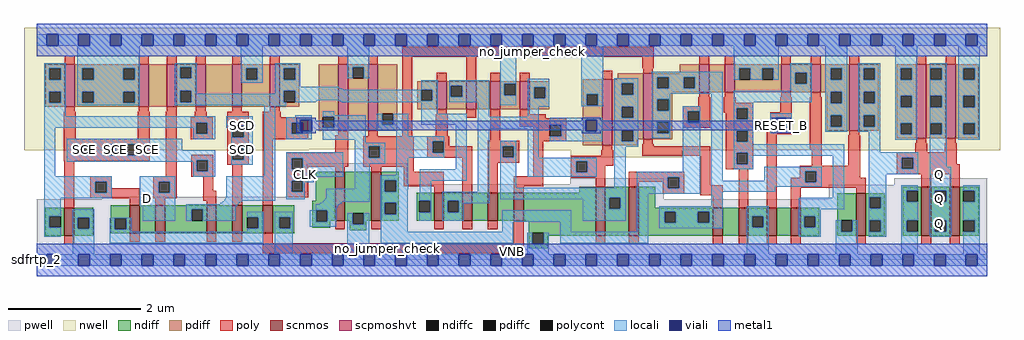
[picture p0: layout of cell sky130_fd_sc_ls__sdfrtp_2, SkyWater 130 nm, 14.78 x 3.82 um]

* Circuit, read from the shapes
.subckt sky130_fd_sc_ls__sdfrtp_2 CLK D RESET_B SCD SCE VGND VNB VPB VPWR Q
XM1 VGND SCE n1 VNB sky130_fd_pr__nfet_01v8 w=0.42 l=0.15
XM2 n2 n1 n3 VNB sky130_fd_pr__nfet_01v8 w=0.42 l=0.15
XM3 n4 D n2 VNB sky130_fd_pr__nfet_01v8 w=0.42 l=0.15
XM4 n5 SCE n4 VNB sky130_fd_pr__nfet_01v8 w=0.42 l=0.15
XM5 n3 SCD n5 VNB sky130_fd_pr__nfet_01v8 w=0.42 l=0.15
XM6 VGND RESET_B n3 VNB sky130_fd_pr__nfet_01v8 w=0.42 l=0.15
XM7 VGND CLK n6 VNB sky130_fd_pr__nfet_01v8 w=0.74 l=0.15
XM8 n7 n6 VGND VNB sky130_fd_pr__nfet_01v8 w=0.74 l=0.15
XM9 n8 n6 n4 VNB sky130_fd_pr__nfet_01v8 w=0.42 l=0.15
XM10 n9 n7 n8 VNB sky130_fd_pr__nfet_01v8 w=0.42 l=0.15
XM11 n10 n11 n9 VNB sky130_fd_pr__nfet_01v8 w=0.42 l=0.15
XM12 VGND RESET_B n10 VNB sky130_fd_pr__nfet_01v8 w=0.42 l=0.15
XM13 n11 n8 VGND VNB sky130_fd_pr__nfet_01v8 w=0.74 l=0.15
XM14 n12 n7 n11 VNB sky130_fd_pr__nfet_01v8 w=0.74 l=0.15
XM15 n13 n6 n12 VNB sky130_fd_pr__nfet_01v8 w=0.42 l=0.15
XM16 VGND n14 n13 VNB sky130_fd_pr__nfet_01v8 w=0.42 l=0.15
XM17 n15 RESET_B VGND VNB sky130_fd_pr__nfet_01v8 w=0.42 l=0.15
XM18 n14 n12 n15 VNB sky130_fd_pr__nfet_01v8 w=0.42 l=0.15
XM19 n16 n12 VGND VNB sky130_fd_pr__nfet_01v8 w=0.64 l=0.15
XM20 Q n16 VGND VNB sky130_fd_pr__nfet_01v8 w=0.74 l=0.15 m=2
XM21 VPWR SCE n1 VPB sky130_fd_pr__pfet_01v8_hvt w=0.64 l=0.15
XM22 n17 SCE VPWR VPB sky130_fd_pr__pfet_01v8_hvt w=0.64 l=0.15
XM23 n4 D n17 VPB sky130_fd_pr__pfet_01v8_hvt w=0.64 l=0.15
XM24 n18 n1 n4 VPB sky130_fd_pr__pfet_01v8_hvt w=0.64 l=0.15
XM25 VPWR SCD n18 VPB sky130_fd_pr__pfet_01v8_hvt w=0.64 l=0.15
XM26 n4 RESET_B VPWR VPB sky130_fd_pr__pfet_01v8_hvt w=0.64 l=0.15
XM27 VPWR CLK n6 VPB sky130_fd_pr__pfet_01v8_hvt w=1 l=0.15
XM28 n7 n6 VPWR VPB sky130_fd_pr__pfet_01v8_hvt w=1 l=0.15
XM29 n8 n7 n4 VPB sky130_fd_pr__pfet_01v8_hvt w=0.42 l=0.15
XM30 n19 n6 n8 VPB sky130_fd_pr__pfet_01v8_hvt w=0.42 l=0.15
XM31 VPWR n11 n19 VPB sky130_fd_pr__pfet_01v8_hvt w=0.42 l=0.15
XM32 n8 RESET_B VPWR VPB sky130_fd_pr__pfet_01v8_hvt w=0.42 l=0.15
XM33 n11 n8 VPWR VPB sky130_fd_pr__pfet_01v8_hvt w=1 l=0.15
XM34 n12 n6 n11 VPB sky130_fd_pr__pfet_01v8_hvt w=1 l=0.15
XM35 n20 n7 n12 VPB sky130_fd_pr__pfet_01v8_hvt w=0.42 l=0.15
XM36 VPWR n14 n20 VPB sky130_fd_pr__pfet_01v8_hvt w=0.42 l=0.15
XM37 n14 RESET_B VPWR VPB sky130_fd_pr__pfet_01v8_hvt w=0.42 l=0.15
XM38 VPWR n12 n14 VPB sky130_fd_pr__pfet_01v8_hvt w=0.42 l=0.15
XM39 n16 n12 VPWR VPB sky130_fd_pr__pfet_01v8_hvt w=1 l=0.15
XM40 Q n16 VPWR VPB sky130_fd_pr__pfet_01v8_hvt w=1.12 l=0.15 m=2
.ends

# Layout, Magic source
magic
tech sky130A
magscale 1 2
<< nwell >>
rect -38 335 2918 704
rect -38 332 825 335
rect 1117 332 2918 335
rect 1618 311 1956 332
<< pwell >>
rect 819 229 1123 293
rect 1617 229 1900 248
rect 819 206 1900 229
rect 2597 228 2879 248
rect 809 191 1900 206
rect 199 184 1900 191
rect 2399 184 2879 228
rect 1 49 2879 184
rect 0 0 2880 49
<< scnmos >>
rect 84 74 114 158
rect 282 81 312 165
rect 360 81 390 165
rect 515 81 545 165
rect 593 81 623 165
rect 685 81 715 165
rect 904 119 934 267
rect 1014 119 1044 267
rect 1204 119 1234 203
rect 1290 119 1320 203
rect 1367 119 1397 203
rect 1445 119 1475 203
rect 1693 74 1723 222
rect 1794 74 1824 222
rect 2048 74 2078 158
rect 2126 74 2156 158
rect 2212 74 2242 158
rect 2284 74 2314 158
rect 2482 74 2512 202
rect 2680 74 2710 222
rect 2766 74 2796 222
<< scpmoshvt >>
rect 86 464 116 592
rect 310 464 340 592
rect 394 464 424 592
rect 482 464 512 592
rect 592 464 622 592
rect 706 464 736 592
rect 914 392 944 592
rect 1004 392 1034 592
rect 1212 457 1242 541
rect 1302 457 1332 541
rect 1374 457 1404 541
rect 1464 457 1494 541
rect 1713 347 1743 547
rect 1837 366 1867 566
rect 2007 508 2037 592
rect 2085 508 2115 592
rect 2255 508 2285 592
rect 2345 508 2375 592
rect 2462 392 2492 592
rect 2664 368 2694 592
rect 2754 368 2784 592
<< ndiff >>
rect 845 180 904 267
rect 27 133 84 158
rect 27 99 39 133
rect 73 99 84 133
rect 27 74 84 99
rect 114 128 171 158
rect 114 94 125 128
rect 159 94 171 128
rect 114 74 171 94
rect 225 127 282 165
rect 225 93 237 127
rect 271 93 282 127
rect 225 81 282 93
rect 312 81 360 165
rect 390 153 515 165
rect 390 119 470 153
rect 504 119 515 153
rect 390 81 515 119
rect 545 81 593 165
rect 623 130 685 165
rect 623 96 638 130
rect 672 96 685 130
rect 623 81 685 96
rect 715 130 781 165
rect 715 96 735 130
rect 769 96 781 130
rect 835 150 904 180
rect 835 116 847 150
rect 881 119 904 150
rect 934 142 1014 267
rect 934 119 957 142
rect 881 116 889 119
rect 835 98 889 116
rect 715 81 781 96
rect 949 108 957 119
rect 991 119 1014 142
rect 1044 241 1097 267
rect 1044 207 1055 241
rect 1089 207 1097 241
rect 1044 173 1097 207
rect 1643 203 1693 222
rect 1044 139 1055 173
rect 1089 139 1097 173
rect 1044 119 1097 139
rect 1151 179 1204 203
rect 1151 145 1159 179
rect 1193 145 1204 179
rect 1151 119 1204 145
rect 1234 179 1290 203
rect 1234 145 1245 179
rect 1279 145 1290 179
rect 1234 119 1290 145
rect 1320 119 1367 203
rect 1397 119 1445 203
rect 1475 119 1693 203
rect 991 108 999 119
rect 949 90 999 108
rect 1491 82 1693 119
rect 1491 48 1502 82
rect 1536 74 1693 82
rect 1723 189 1794 222
rect 1723 155 1734 189
rect 1768 155 1794 189
rect 1723 74 1794 155
rect 1824 158 1874 222
rect 2623 210 2680 222
rect 1824 146 2048 158
rect 1824 112 1902 146
rect 1936 112 2003 146
rect 2037 112 2048 146
rect 1824 74 2048 112
rect 2078 74 2126 158
rect 2156 133 2212 158
rect 2156 99 2167 133
rect 2201 99 2212 133
rect 2156 74 2212 99
rect 2242 74 2284 158
rect 2314 133 2371 158
rect 2314 99 2325 133
rect 2359 99 2371 133
rect 2314 74 2371 99
rect 2425 120 2482 202
rect 2425 86 2437 120
rect 2471 86 2482 120
rect 2425 74 2482 86
rect 2512 190 2569 202
rect 2512 156 2523 190
rect 2557 156 2569 190
rect 2512 120 2569 156
rect 2512 86 2523 120
rect 2557 86 2569 120
rect 2512 74 2569 86
rect 2623 176 2635 210
rect 2669 176 2680 210
rect 2623 120 2680 176
rect 2623 86 2635 120
rect 2669 86 2680 120
rect 2623 74 2680 86
rect 2710 210 2766 222
rect 2710 176 2721 210
rect 2755 176 2766 210
rect 2710 120 2766 176
rect 2710 86 2721 120
rect 2755 86 2766 120
rect 2710 74 2766 86
rect 2796 210 2853 222
rect 2796 176 2807 210
rect 2841 176 2853 210
rect 2796 120 2853 176
rect 2796 86 2807 120
rect 2841 86 2853 120
rect 2796 74 2853 86
rect 1536 48 1549 74
rect 1491 36 1549 48
<< pdiff >>
rect 27 580 86 592
rect 27 546 39 580
rect 73 546 86 580
rect 27 510 86 546
rect 27 476 39 510
rect 73 476 86 510
rect 27 464 86 476
rect 116 580 310 592
rect 116 546 139 580
rect 173 546 263 580
rect 297 546 310 580
rect 116 510 310 546
rect 116 476 139 510
rect 173 476 263 510
rect 297 476 310 510
rect 116 464 310 476
rect 340 464 394 592
rect 424 584 482 592
rect 424 550 435 584
rect 469 550 482 584
rect 424 512 482 550
rect 424 478 435 512
rect 469 478 482 512
rect 424 464 482 478
rect 512 464 592 592
rect 622 580 706 592
rect 622 546 635 580
rect 669 546 706 580
rect 622 464 706 546
rect 736 580 795 592
rect 736 546 749 580
rect 783 546 795 580
rect 736 512 795 546
rect 736 478 749 512
rect 783 478 795 512
rect 736 464 795 478
rect 855 434 914 592
rect 855 400 867 434
rect 901 400 914 434
rect 855 392 914 400
rect 944 584 1004 592
rect 944 550 957 584
rect 991 550 1004 584
rect 944 392 1004 550
rect 1034 443 1093 592
rect 1034 409 1047 443
rect 1081 409 1093 443
rect 1034 392 1093 409
rect 1948 566 2007 592
rect 1761 547 1837 566
rect 1153 516 1212 541
rect 1153 482 1165 516
rect 1199 482 1212 516
rect 1153 457 1212 482
rect 1242 528 1302 541
rect 1242 494 1255 528
rect 1289 494 1302 528
rect 1242 457 1302 494
rect 1332 457 1374 541
rect 1404 533 1464 541
rect 1404 499 1417 533
rect 1451 499 1464 533
rect 1404 457 1464 499
rect 1494 523 1553 541
rect 1494 489 1507 523
rect 1541 489 1553 523
rect 1494 457 1553 489
rect 1654 502 1713 547
rect 1654 468 1666 502
rect 1700 468 1713 502
rect 1654 347 1713 468
rect 1743 535 1837 547
rect 1743 501 1773 535
rect 1807 501 1837 535
rect 1743 464 1837 501
rect 1743 430 1773 464
rect 1807 430 1837 464
rect 1743 393 1837 430
rect 1743 359 1773 393
rect 1807 366 1837 393
rect 1867 554 2007 566
rect 1867 520 1880 554
rect 1914 520 1960 554
rect 1994 520 2007 554
rect 1867 508 2007 520
rect 2037 508 2085 592
rect 2115 580 2255 592
rect 2115 546 2128 580
rect 2162 546 2198 580
rect 2232 546 2255 580
rect 2115 508 2255 546
rect 2285 567 2345 592
rect 2285 533 2298 567
rect 2332 533 2345 567
rect 2285 508 2345 533
rect 2375 580 2462 592
rect 2375 546 2405 580
rect 2439 546 2462 580
rect 2375 509 2462 546
rect 2375 508 2405 509
rect 1867 486 1925 508
rect 1867 452 1880 486
rect 1914 452 1925 486
rect 1867 418 1925 452
rect 1867 384 1880 418
rect 1914 384 1925 418
rect 1867 366 1925 384
rect 1807 359 1819 366
rect 1743 347 1819 359
rect 2393 475 2405 508
rect 2439 475 2462 509
rect 2393 438 2462 475
rect 2393 404 2405 438
rect 2439 404 2462 438
rect 2393 392 2462 404
rect 2492 580 2551 592
rect 2492 546 2505 580
rect 2539 546 2551 580
rect 2492 509 2551 546
rect 2492 475 2505 509
rect 2539 475 2551 509
rect 2492 438 2551 475
rect 2492 404 2505 438
rect 2539 404 2551 438
rect 2492 392 2551 404
rect 2605 580 2664 592
rect 2605 546 2617 580
rect 2651 546 2664 580
rect 2605 497 2664 546
rect 2605 463 2617 497
rect 2651 463 2664 497
rect 2605 414 2664 463
rect 2605 380 2617 414
rect 2651 380 2664 414
rect 2605 368 2664 380
rect 2694 580 2754 592
rect 2694 546 2707 580
rect 2741 546 2754 580
rect 2694 497 2754 546
rect 2694 463 2707 497
rect 2741 463 2754 497
rect 2694 414 2754 463
rect 2694 380 2707 414
rect 2741 380 2754 414
rect 2694 368 2754 380
rect 2784 580 2853 592
rect 2784 546 2807 580
rect 2841 546 2853 580
rect 2784 497 2853 546
rect 2784 463 2807 497
rect 2841 463 2853 497
rect 2784 414 2853 463
rect 2784 380 2807 414
rect 2841 380 2853 414
rect 2784 368 2853 380
<< ndiffc >>
rect 39 99 73 133
rect 125 94 159 128
rect 237 93 271 127
rect 470 119 504 153
rect 638 96 672 130
rect 735 96 769 130
rect 847 116 881 150
rect 957 108 991 142
rect 1055 207 1089 241
rect 1055 139 1089 173
rect 1159 145 1193 179
rect 1245 145 1279 179
rect 1502 48 1536 82
rect 1734 155 1768 189
rect 1902 112 1936 146
rect 2003 112 2037 146
rect 2167 99 2201 133
rect 2325 99 2359 133
rect 2437 86 2471 120
rect 2523 156 2557 190
rect 2523 86 2557 120
rect 2635 176 2669 210
rect 2635 86 2669 120
rect 2721 176 2755 210
rect 2721 86 2755 120
rect 2807 176 2841 210
rect 2807 86 2841 120
<< pdiffc >>
rect 39 546 73 580
rect 39 476 73 510
rect 139 546 173 580
rect 263 546 297 580
rect 139 476 173 510
rect 263 476 297 510
rect 435 550 469 584
rect 435 478 469 512
rect 635 546 669 580
rect 749 546 783 580
rect 749 478 783 512
rect 867 400 901 434
rect 957 550 991 584
rect 1047 409 1081 443
rect 1165 482 1199 516
rect 1255 494 1289 528
rect 1417 499 1451 533
rect 1507 489 1541 523
rect 1666 468 1700 502
rect 1773 501 1807 535
rect 1773 430 1807 464
rect 1773 359 1807 393
rect 1880 520 1914 554
rect 1960 520 1994 554
rect 2128 546 2162 580
rect 2198 546 2232 580
rect 2298 533 2332 567
rect 2405 546 2439 580
rect 1880 452 1914 486
rect 1880 384 1914 418
rect 2405 475 2439 509
rect 2405 404 2439 438
rect 2505 546 2539 580
rect 2505 475 2539 509
rect 2505 404 2539 438
rect 2617 546 2651 580
rect 2617 463 2651 497
rect 2617 380 2651 414
rect 2707 546 2741 580
rect 2707 463 2741 497
rect 2707 380 2741 414
rect 2807 546 2841 580
rect 2807 463 2841 497
rect 2807 380 2841 414
<< poly >>
rect 86 592 116 618
rect 310 592 340 618
rect 394 592 424 618
rect 482 592 512 618
rect 592 592 622 618
rect 706 592 736 618
rect 914 592 944 618
rect 1004 592 1034 618
rect 1108 615 1870 645
rect 86 449 116 464
rect 310 449 340 464
rect 394 449 424 464
rect 482 449 512 464
rect 592 449 622 464
rect 706 449 736 464
rect 83 367 119 449
rect 307 367 343 449
rect 83 351 343 367
rect 83 317 137 351
rect 171 317 205 351
rect 239 317 273 351
rect 307 317 343 351
rect 83 301 343 317
rect 84 158 114 301
rect 391 253 425 449
rect 479 432 515 449
rect 467 416 533 432
rect 467 382 483 416
rect 517 382 533 416
rect 467 366 533 382
rect 577 406 643 449
rect 577 372 593 406
rect 627 372 643 406
rect 577 338 643 372
rect 162 237 228 253
rect 162 203 178 237
rect 212 217 228 237
rect 354 237 425 253
rect 469 302 535 318
rect 469 268 485 302
rect 519 268 535 302
rect 577 304 593 338
rect 627 304 643 338
rect 577 288 643 304
rect 685 432 739 449
rect 685 416 823 432
rect 685 382 773 416
rect 807 382 823 416
rect 685 370 823 382
rect 914 377 944 392
rect 685 366 819 370
rect 469 252 535 268
rect 212 203 312 217
rect 162 187 312 203
rect 354 203 370 237
rect 404 203 425 237
rect 354 187 425 203
rect 505 210 535 252
rect 282 165 312 187
rect 360 165 390 187
rect 505 180 545 210
rect 515 165 545 180
rect 593 165 623 288
rect 685 165 715 366
rect 904 324 944 377
rect 1004 375 1034 392
rect 1108 375 1138 615
rect 1212 541 1242 567
rect 1302 541 1332 615
rect 1834 581 1870 615
rect 2007 592 2037 618
rect 2085 592 2115 618
rect 2255 592 2285 618
rect 2345 592 2375 618
rect 2462 592 2492 618
rect 2664 592 2694 618
rect 2754 592 2784 618
rect 1374 541 1404 567
rect 1464 541 1494 567
rect 1713 547 1743 573
rect 1837 566 1867 581
rect 1212 442 1242 457
rect 1209 375 1245 442
rect 1302 431 1332 457
rect 757 308 944 324
rect 757 274 773 308
rect 807 282 944 308
rect 990 344 1142 375
rect 990 310 1006 344
rect 1040 310 1142 344
rect 990 282 1142 310
rect 1184 359 1250 375
rect 1374 361 1404 457
rect 1464 442 1494 457
rect 1464 429 1542 442
rect 1464 409 1605 429
rect 1464 403 1555 409
rect 1504 375 1555 403
rect 1589 375 1605 409
rect 1184 325 1200 359
rect 1234 345 1250 359
rect 1367 345 1462 361
rect 1234 325 1320 345
rect 1184 309 1320 325
rect 807 274 823 282
rect 757 240 823 274
rect 904 267 934 282
rect 1014 267 1044 282
rect 1112 267 1142 282
rect 757 206 773 240
rect 807 206 823 240
rect 757 190 823 206
rect 904 93 934 119
rect 1112 223 1234 267
rect 1204 203 1234 223
rect 1290 203 1320 309
rect 1367 311 1412 345
rect 1446 311 1462 345
rect 1367 295 1462 311
rect 1504 359 1605 375
rect 1367 203 1397 295
rect 1504 253 1534 359
rect 2007 493 2037 508
rect 2085 493 2115 508
rect 2255 493 2285 508
rect 2345 493 2375 508
rect 2004 466 2040 493
rect 1957 450 2040 466
rect 1957 416 1973 450
rect 2007 416 2040 450
rect 2082 476 2118 493
rect 2082 460 2170 476
rect 2082 446 2120 460
rect 1957 400 2040 416
rect 2088 426 2120 446
rect 2154 426 2170 460
rect 2252 447 2288 493
rect 2088 392 2170 426
rect 2222 431 2288 447
rect 2222 411 2238 431
rect 1837 351 1867 366
rect 2088 358 2120 392
rect 2154 358 2170 392
rect 1713 332 1743 347
rect 1834 345 1870 351
rect 1710 315 1746 332
rect 1834 315 2040 345
rect 1445 223 1534 253
rect 1618 299 1746 315
rect 1618 265 1634 299
rect 1668 285 1746 299
rect 1668 265 1723 285
rect 1618 249 1723 265
rect 1445 203 1475 223
rect 1693 222 1723 249
rect 1794 251 1962 267
rect 1794 237 1912 251
rect 1794 222 1824 237
rect 1014 93 1044 119
rect 1204 93 1234 119
rect 1290 93 1320 119
rect 1367 93 1397 119
rect 84 48 114 74
rect 282 55 312 81
rect 360 55 390 81
rect 515 55 545 81
rect 593 55 623 81
rect 685 51 715 81
rect 1445 51 1475 119
rect 685 21 1475 51
rect 1896 217 1912 237
rect 1946 217 1962 251
rect 1896 201 1962 217
rect 2010 226 2040 315
rect 2088 324 2170 358
rect 2088 290 2120 324
rect 2154 290 2170 324
rect 2088 274 2170 290
rect 2212 397 2238 411
rect 2272 397 2288 431
rect 2212 381 2288 397
rect 2010 196 2078 226
rect 2048 158 2078 196
rect 2126 158 2156 274
rect 2212 158 2242 381
rect 2342 333 2378 493
rect 2462 377 2492 392
rect 2348 285 2378 333
rect 2459 285 2495 377
rect 2664 353 2694 368
rect 2754 353 2784 368
rect 2661 326 2697 353
rect 2751 326 2787 353
rect 2312 269 2495 285
rect 2312 249 2328 269
rect 2284 235 2328 249
rect 2362 249 2495 269
rect 2605 310 2787 326
rect 2605 276 2621 310
rect 2655 290 2787 310
rect 2655 276 2796 290
rect 2605 260 2796 276
rect 2362 235 2512 249
rect 2284 219 2512 235
rect 2680 222 2710 260
rect 2766 222 2796 260
rect 2284 158 2314 219
rect 2482 202 2512 219
rect 1693 48 1723 74
rect 1794 48 1824 74
rect 2048 48 2078 74
rect 2126 48 2156 74
rect 2212 48 2242 74
rect 2284 48 2314 74
rect 2482 48 2512 74
rect 2680 48 2710 74
rect 2766 48 2796 74
<< polycont >>
rect 137 317 171 351
rect 205 317 239 351
rect 273 317 307 351
rect 483 382 517 416
rect 593 372 627 406
rect 178 203 212 237
rect 485 268 519 302
rect 593 304 627 338
rect 773 382 807 416
rect 370 203 404 237
rect 773 274 807 308
rect 1006 310 1040 344
rect 1555 375 1589 409
rect 1200 325 1234 359
rect 773 206 807 240
rect 1412 311 1446 345
rect 1973 416 2007 450
rect 2120 426 2154 460
rect 2120 358 2154 392
rect 1634 265 1668 299
rect 1912 217 1946 251
rect 2120 290 2154 324
rect 2238 397 2272 431
rect 2328 235 2362 269
rect 2621 276 2655 310
<< locali >>
rect 0 649 31 683
rect 65 649 127 683
rect 161 649 223 683
rect 257 649 319 683
rect 353 649 415 683
rect 449 649 511 683
rect 545 649 607 683
rect 641 649 703 683
rect 737 649 799 683
rect 833 649 895 683
rect 929 649 991 683
rect 1025 649 1087 683
rect 1121 649 1183 683
rect 1217 649 1279 683
rect 1313 649 1375 683
rect 1409 649 1471 683
rect 1505 649 1567 683
rect 1601 649 1663 683
rect 1697 649 1759 683
rect 1793 649 1855 683
rect 1889 649 1951 683
rect 1985 649 2047 683
rect 2081 649 2143 683
rect 2177 649 2239 683
rect 2273 649 2335 683
rect 2369 649 2431 683
rect 2465 649 2527 683
rect 2561 649 2623 683
rect 2657 649 2719 683
rect 2753 649 2815 683
rect 2849 649 2880 683
rect 23 580 89 596
rect 23 546 39 580
rect 73 546 89 580
rect 23 510 89 546
rect 23 476 39 510
rect 73 476 89 510
rect 23 435 89 476
rect 123 580 313 649
rect 123 546 139 580
rect 173 546 263 580
rect 297 546 313 580
rect 123 510 313 546
rect 123 476 139 510
rect 173 476 263 510
rect 297 476 313 510
rect 123 469 313 476
rect 419 584 485 596
rect 419 550 435 584
rect 469 550 485 584
rect 419 512 485 550
rect 619 580 685 649
rect 619 546 635 580
rect 669 546 685 580
rect 619 537 685 546
rect 723 580 799 596
rect 723 546 749 580
rect 783 546 799 580
rect 941 584 1007 649
rect 941 550 957 584
rect 991 550 1007 584
rect 419 478 435 512
rect 469 503 485 512
rect 723 524 799 546
rect 723 520 916 524
rect 723 518 922 520
rect 723 517 926 518
rect 723 516 929 517
rect 1165 516 1215 545
rect 723 512 1165 516
rect 723 503 749 512
rect 469 478 749 503
rect 783 484 1165 512
rect 783 480 850 484
rect 911 483 1165 484
rect 914 482 1165 483
rect 1199 482 1215 516
rect 918 480 1215 482
rect 783 478 846 480
rect 419 477 846 478
rect 923 477 1215 480
rect 1250 528 1371 545
rect 1250 494 1255 528
rect 1289 494 1371 528
rect 1250 477 1371 494
rect 419 469 757 477
rect 689 466 757 469
rect 23 416 541 435
rect 23 401 483 416
rect 23 253 57 401
rect 475 382 483 401
rect 517 382 541 416
rect 575 406 655 435
rect 575 400 593 406
rect 91 351 441 367
rect 475 366 541 382
rect 589 372 593 400
rect 627 372 655 406
rect 91 317 137 351
rect 171 317 205 351
rect 239 317 273 351
rect 307 332 441 351
rect 589 338 655 372
rect 307 317 541 332
rect 91 302 541 317
rect 91 298 485 302
rect 475 268 485 298
rect 519 268 541 302
rect 589 304 593 338
rect 627 304 655 338
rect 589 288 655 304
rect 23 237 228 253
rect 23 203 178 237
rect 212 203 228 237
rect 23 187 228 203
rect 313 237 420 253
rect 475 252 541 268
rect 689 254 723 466
rect 867 439 901 450
rect 1165 443 1215 477
rect 784 432 833 438
rect 757 424 833 432
rect 757 416 799 424
rect 757 382 773 416
rect 807 382 833 390
rect 757 366 833 382
rect 867 434 997 439
rect 901 400 997 434
rect 867 364 997 400
rect 1031 409 1047 443
rect 1081 409 1126 443
rect 1165 409 1303 443
rect 1031 391 1126 409
rect 963 355 997 364
rect 1090 375 1126 391
rect 1090 359 1235 375
rect 963 344 1056 355
rect 313 203 370 237
rect 404 203 420 237
rect 23 133 73 187
rect 313 162 420 203
rect 575 187 723 254
rect 571 182 723 187
rect 757 308 929 326
rect 757 274 773 308
rect 807 274 929 308
rect 757 252 929 274
rect 963 310 1006 344
rect 1040 310 1056 344
rect 963 291 1056 310
rect 1090 325 1200 359
rect 1234 325 1235 359
rect 1090 309 1235 325
rect 757 240 839 252
rect 757 206 773 240
rect 807 236 839 240
rect 807 206 812 236
rect 963 216 1009 291
rect 1090 257 1126 309
rect 1269 274 1303 409
rect 757 184 812 206
rect 878 187 1009 216
rect 874 182 1009 187
rect 568 180 723 182
rect 568 178 622 180
rect 871 178 1009 182
rect 566 176 622 178
rect 869 176 1009 178
rect 1043 241 1126 257
rect 1043 207 1055 241
rect 1089 214 1126 241
rect 1160 240 1303 274
rect 1337 433 1371 477
rect 1405 533 1453 649
rect 1405 499 1417 533
rect 1451 499 1453 533
rect 1405 469 1453 499
rect 1487 523 1553 549
rect 1487 489 1507 523
rect 1541 489 1553 523
rect 1487 464 1553 489
rect 1649 502 1716 649
rect 2112 580 2248 649
rect 1864 554 2078 570
rect 1649 468 1666 502
rect 1700 468 1716 502
rect 1649 466 1716 468
rect 1750 535 1823 551
rect 1750 501 1773 535
rect 1807 501 1823 535
rect 1750 464 1823 501
rect 1487 433 1521 464
rect 1337 397 1521 433
rect 1750 430 1773 464
rect 1807 430 1823 464
rect 1089 207 1124 214
rect 562 173 617 176
rect 865 173 925 176
rect 557 171 613 173
rect 860 172 925 173
rect 1043 173 1124 207
rect 1160 199 1195 240
rect 1337 206 1371 397
rect 557 169 611 171
rect 860 169 920 172
rect 23 99 39 133
rect 23 70 73 99
rect 109 128 175 153
rect 109 94 125 128
rect 159 94 175 128
rect 109 17 175 94
rect 221 127 287 128
rect 221 93 237 127
rect 271 93 287 127
rect 321 119 420 162
rect 454 167 611 169
rect 846 167 916 169
rect 454 162 608 167
rect 846 163 914 167
rect 454 153 604 162
rect 454 119 470 153
rect 504 119 604 153
rect 846 158 911 163
rect 846 150 907 158
rect 638 130 686 146
rect 221 85 287 93
rect 672 96 686 130
rect 638 85 686 96
rect 221 51 686 85
rect 722 130 776 146
rect 722 96 735 130
rect 769 96 776 130
rect 827 116 847 150
rect 881 116 907 150
rect 827 100 907 116
rect 941 108 957 142
rect 991 108 1007 142
rect 722 17 776 96
rect 941 17 1007 108
rect 1043 139 1055 173
rect 1089 139 1124 173
rect 1043 85 1124 139
rect 1159 179 1195 199
rect 1193 145 1195 179
rect 1159 119 1195 145
rect 1229 179 1371 206
rect 1405 345 1453 361
rect 1405 311 1412 345
rect 1446 311 1453 345
rect 1405 218 1453 311
rect 1487 309 1521 397
rect 1555 424 1714 430
rect 1555 409 1663 424
rect 1589 390 1663 409
rect 1697 390 1714 424
rect 1589 375 1714 390
rect 1555 359 1714 375
rect 1750 393 1823 430
rect 1750 359 1773 393
rect 1807 359 1823 393
rect 1864 520 1880 554
rect 1914 520 1960 554
rect 1994 520 2078 554
rect 2112 546 2128 580
rect 2162 546 2198 580
rect 2232 546 2248 580
rect 2282 567 2348 596
rect 1864 504 2078 520
rect 2282 533 2298 567
rect 2332 533 2348 567
rect 2282 512 2348 533
rect 1864 486 1920 504
rect 1864 452 1880 486
rect 1914 452 1920 486
rect 1864 418 1920 452
rect 1864 384 1880 418
rect 1914 384 1920 418
rect 1864 368 1920 384
rect 1957 450 2010 466
rect 1957 416 1973 450
rect 2007 416 2010 450
rect 1750 343 1823 359
rect 1487 299 1697 309
rect 1487 265 1634 299
rect 1668 265 1697 299
rect 1487 252 1697 265
rect 1750 218 1784 343
rect 1957 267 2010 416
rect 1405 189 1784 218
rect 1405 184 1734 189
rect 1229 145 1245 179
rect 1279 172 1371 179
rect 1279 145 1294 172
rect 1654 155 1734 184
rect 1768 155 1784 189
rect 1229 119 1294 145
rect 1410 116 1620 150
rect 1654 119 1784 155
rect 1818 251 2010 267
rect 1818 217 1912 251
rect 1946 217 2010 251
rect 1818 201 2010 217
rect 2044 240 2078 504
rect 2112 478 2348 512
rect 2389 580 2455 649
rect 2389 546 2405 580
rect 2439 546 2455 580
rect 2389 509 2455 546
rect 2112 460 2170 478
rect 2112 426 2120 460
rect 2154 426 2170 460
rect 2389 475 2405 509
rect 2439 475 2455 509
rect 2112 392 2170 426
rect 2112 358 2120 392
rect 2154 358 2170 392
rect 2222 431 2288 444
rect 2222 397 2238 431
rect 2272 424 2288 431
rect 2222 390 2239 397
rect 2273 390 2288 424
rect 2222 384 2288 390
rect 2389 438 2455 475
rect 2389 404 2405 438
rect 2439 404 2455 438
rect 2389 388 2455 404
rect 2489 580 2555 596
rect 2489 546 2505 580
rect 2539 546 2555 580
rect 2489 509 2555 546
rect 2489 475 2505 509
rect 2539 475 2555 509
rect 2489 438 2555 475
rect 2489 404 2505 438
rect 2539 404 2555 438
rect 2489 388 2555 404
rect 2112 350 2170 358
rect 2112 324 2446 350
rect 2112 290 2120 324
rect 2154 316 2446 324
rect 2154 290 2170 316
rect 2112 274 2170 290
rect 2204 269 2378 282
rect 2204 240 2328 269
rect 2044 235 2328 240
rect 2362 235 2378 269
rect 2044 222 2378 235
rect 2044 206 2238 222
rect 1410 85 1444 116
rect 1043 51 1444 85
rect 1586 85 1620 116
rect 1818 85 1852 201
rect 2044 162 2078 206
rect 2412 188 2446 316
rect 1886 146 2078 162
rect 1886 112 1902 146
rect 1936 112 2003 146
rect 2037 112 2078 146
rect 1886 96 2078 112
rect 2151 133 2217 162
rect 2151 99 2167 133
rect 2201 99 2217 133
rect 1486 48 1502 82
rect 1536 48 1552 82
rect 1586 51 1852 85
rect 1486 17 1552 48
rect 2151 17 2217 99
rect 2309 154 2446 188
rect 2521 326 2555 388
rect 2601 580 2667 649
rect 2601 546 2617 580
rect 2651 546 2667 580
rect 2601 497 2667 546
rect 2601 463 2617 497
rect 2651 463 2667 497
rect 2601 414 2667 463
rect 2601 380 2617 414
rect 2651 380 2667 414
rect 2601 364 2667 380
rect 2705 580 2757 596
rect 2705 546 2707 580
rect 2741 546 2757 580
rect 2705 497 2757 546
rect 2705 463 2707 497
rect 2741 463 2757 497
rect 2705 414 2757 463
rect 2705 380 2707 414
rect 2741 380 2757 414
rect 2521 310 2671 326
rect 2521 276 2621 310
rect 2655 276 2671 310
rect 2521 260 2671 276
rect 2705 282 2757 380
rect 2791 580 2857 649
rect 2791 546 2807 580
rect 2841 546 2857 580
rect 2791 497 2857 546
rect 2791 463 2807 497
rect 2841 463 2857 497
rect 2791 414 2857 463
rect 2791 380 2807 414
rect 2841 380 2857 414
rect 2791 364 2857 380
rect 2521 190 2573 260
rect 2521 156 2523 190
rect 2557 156 2573 190
rect 2309 133 2375 154
rect 2309 99 2325 133
rect 2359 99 2375 133
rect 2521 120 2573 156
rect 2309 70 2375 99
rect 2421 86 2437 120
rect 2471 86 2487 120
rect 2421 17 2487 86
rect 2521 86 2523 120
rect 2557 86 2573 120
rect 2521 70 2573 86
rect 2619 210 2669 226
rect 2619 176 2635 210
rect 2619 120 2669 176
rect 2619 86 2635 120
rect 2619 17 2669 86
rect 2705 210 2771 282
rect 2705 176 2721 210
rect 2755 176 2771 210
rect 2705 120 2771 176
rect 2705 86 2721 120
rect 2755 86 2771 120
rect 2705 70 2771 86
rect 2807 210 2857 226
rect 2841 176 2857 210
rect 2807 120 2857 176
rect 2841 86 2857 120
rect 2807 17 2857 86
rect 0 -17 31 17
rect 65 -17 127 17
rect 161 -17 223 17
rect 257 -17 319 17
rect 353 -17 415 17
rect 449 -17 511 17
rect 545 -17 607 17
rect 641 -17 703 17
rect 737 -17 799 17
rect 833 -17 895 17
rect 929 -17 991 17
rect 1025 -17 1087 17
rect 1121 -17 1183 17
rect 1217 -17 1279 17
rect 1313 -17 1375 17
rect 1409 -17 1471 17
rect 1505 -17 1567 17
rect 1601 -17 1663 17
rect 1697 -17 1759 17
rect 1793 -17 1855 17
rect 1889 -17 1951 17
rect 1985 -17 2047 17
rect 2081 -17 2143 17
rect 2177 -17 2239 17
rect 2273 -17 2335 17
rect 2369 -17 2431 17
rect 2465 -17 2527 17
rect 2561 -17 2623 17
rect 2657 -17 2719 17
rect 2753 -17 2815 17
rect 2849 -17 2880 17
<< viali >>
rect 31 649 65 683
rect 127 649 161 683
rect 223 649 257 683
rect 319 649 353 683
rect 415 649 449 683
rect 511 649 545 683
rect 607 649 641 683
rect 703 649 737 683
rect 799 649 833 683
rect 895 649 929 683
rect 991 649 1025 683
rect 1087 649 1121 683
rect 1183 649 1217 683
rect 1279 649 1313 683
rect 1375 649 1409 683
rect 1471 649 1505 683
rect 1567 649 1601 683
rect 1663 649 1697 683
rect 1759 649 1793 683
rect 1855 649 1889 683
rect 1951 649 1985 683
rect 2047 649 2081 683
rect 2143 649 2177 683
rect 2239 649 2273 683
rect 2335 649 2369 683
rect 2431 649 2465 683
rect 2527 649 2561 683
rect 2623 649 2657 683
rect 2719 649 2753 683
rect 2815 649 2849 683
rect 799 416 833 424
rect 799 390 807 416
rect 807 390 833 416
rect 1663 390 1697 424
rect 2239 397 2272 424
rect 2272 397 2273 424
rect 2239 390 2273 397
rect 31 -17 65 17
rect 127 -17 161 17
rect 223 -17 257 17
rect 319 -17 353 17
rect 415 -17 449 17
rect 511 -17 545 17
rect 607 -17 641 17
rect 703 -17 737 17
rect 799 -17 833 17
rect 895 -17 929 17
rect 991 -17 1025 17
rect 1087 -17 1121 17
rect 1183 -17 1217 17
rect 1279 -17 1313 17
rect 1375 -17 1409 17
rect 1471 -17 1505 17
rect 1567 -17 1601 17
rect 1663 -17 1697 17
rect 1759 -17 1793 17
rect 1855 -17 1889 17
rect 1951 -17 1985 17
rect 2047 -17 2081 17
rect 2143 -17 2177 17
rect 2239 -17 2273 17
rect 2335 -17 2369 17
rect 2431 -17 2465 17
rect 2527 -17 2561 17
rect 2623 -17 2657 17
rect 2719 -17 2753 17
rect 2815 -17 2849 17
<< metal1 >>
rect 0 683 2880 715
rect 0 649 31 683
rect 65 649 127 683
rect 161 649 223 683
rect 257 649 319 683
rect 353 649 415 683
rect 449 649 511 683
rect 545 649 607 683
rect 641 649 703 683
rect 737 649 799 683
rect 833 649 895 683
rect 929 649 991 683
rect 1025 649 1087 683
rect 1121 649 1183 683
rect 1217 649 1279 683
rect 1313 649 1375 683
rect 1409 649 1471 683
rect 1505 649 1567 683
rect 1601 649 1663 683
rect 1697 649 1759 683
rect 1793 649 1855 683
rect 1889 649 1951 683
rect 1985 649 2047 683
rect 2081 649 2143 683
rect 2177 649 2239 683
rect 2273 649 2335 683
rect 2369 649 2431 683
rect 2465 649 2527 683
rect 2561 649 2623 683
rect 2657 649 2719 683
rect 2753 649 2815 683
rect 2849 649 2880 683
rect 0 617 2880 649
rect 787 424 845 430
rect 787 390 799 424
rect 833 421 845 424
rect 1651 424 1709 430
rect 1651 421 1663 424
rect 833 393 1663 421
rect 833 390 845 393
rect 787 384 845 390
rect 1651 390 1663 393
rect 1697 421 1709 424
rect 2227 424 2285 430
rect 2227 421 2239 424
rect 1697 393 2239 421
rect 1697 390 1709 393
rect 1651 384 1709 390
rect 2227 390 2239 393
rect 2273 390 2285 424
rect 2227 384 2285 390
rect 0 17 2880 49
rect 0 -17 31 17
rect 65 -17 127 17
rect 161 -17 223 17
rect 257 -17 319 17
rect 353 -17 415 17
rect 449 -17 511 17
rect 545 -17 607 17
rect 641 -17 703 17
rect 737 -17 799 17
rect 833 -17 895 17
rect 929 -17 991 17
rect 1025 -17 1087 17
rect 1121 -17 1183 17
rect 1217 -17 1279 17
rect 1313 -17 1375 17
rect 1409 -17 1471 17
rect 1505 -17 1567 17
rect 1601 -17 1663 17
rect 1697 -17 1759 17
rect 1793 -17 1855 17
rect 1889 -17 1951 17
rect 1985 -17 2047 17
rect 2081 -17 2143 17
rect 2177 -17 2239 17
rect 2273 -17 2335 17
rect 2369 -17 2431 17
rect 2465 -17 2527 17
rect 2561 -17 2623 17
rect 2657 -17 2719 17
rect 2753 -17 2815 17
rect 2849 -17 2880 17
rect 0 -49 2880 -17
<< labels >>
flabel comment s 1063 36 1063 36 0 FreeSans 300 0 0 0 no_jumper_check
flabel comment s 1503 630 1503 630 0 FreeSans 300 0 0 0 no_jumper_check
rlabel comment s 0 0 0 0 4 sdfrtp_2
flabel pwell s 0 0 2880 49 0 FreeSans 200 0 0 0 VNB
port 7 nsew ground bidirectional
flabel nwell s 0 617 2880 666 0 FreeSans 200 0 0 0 VPB
port 8 nsew power bidirectional
flabel metal1 s 2239 390 2273 424 0 FreeSans 340 0 0 0 RESET_B
port 3 nsew signal input
flabel metal1 s 0 617 2880 666 0 FreeSans 340 0 0 0 VPWR
port 9 nsew power bidirectional abutment
flabel metal1 s 0 0 2880 49 0 FreeSans 340 0 0 0 VGND
port 6 nsew ground bidirectional abutment
flabel locali s 319 168 353 202 0 FreeSans 340 0 0 0 D
port 2 nsew signal input
flabel locali s 127 316 161 350 0 FreeSans 340 0 0 0 SCE
port 5 nsew signal input
flabel locali s 223 316 257 350 0 FreeSans 340 0 0 0 SCE
port 5 nsew signal input
flabel locali s 319 316 353 350 0 FreeSans 340 0 0 0 SCE
port 5 nsew signal input
flabel locali s 607 316 641 350 0 FreeSans 340 0 0 0 SCD
port 4 nsew signal input
flabel locali s 607 390 641 424 0 FreeSans 340 0 0 0 SCD
port 4 nsew signal input
flabel locali s 799 242 833 276 0 FreeSans 340 0 0 0 CLK
port 1 nsew clock input
flabel locali s 2719 94 2753 128 0 FreeSans 340 0 0 0 Q
port 10 nsew signal output
flabel locali s 2719 168 2753 202 0 FreeSans 340 0 0 0 Q
port 10 nsew signal output
flabel locali s 2719 242 2753 276 0 FreeSans 340 0 0 0 Q
port 10 nsew signal output
<< properties >>
string LEFsite unit
string LEFclass CORE
string FIXED_BBOX 0 0 2880 666
string GDS_FILE $PDKPATH/libs.ref/sky130_fd_sc_ls/gds/sky130_fd_sc_ls.gds
string LEFsymmetry X Y R90
string GDS_END 1699422
string GDS_START 1677004
<< end >>
